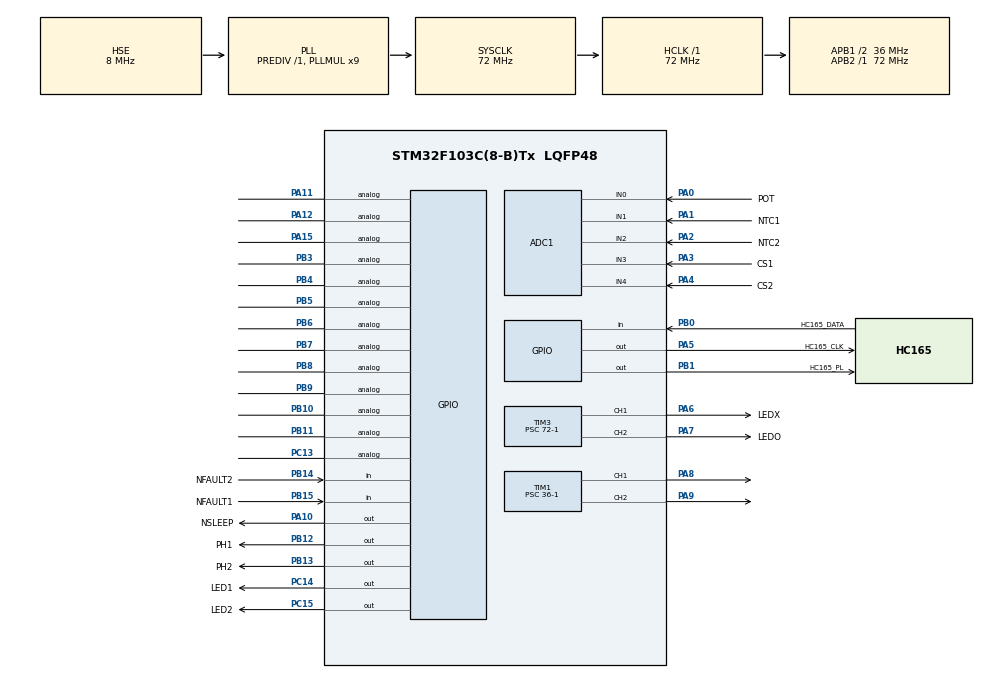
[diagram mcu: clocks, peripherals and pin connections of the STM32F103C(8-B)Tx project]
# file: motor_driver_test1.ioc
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ADC1.Channel-0\#ChannelRegularConversion=ADC_CHANNEL_0
ADC1.Channel-1\#ChannelRegularConversion=ADC_CHANNEL_1
ADC1.Channel-2\#ChannelRegularConversion=ADC_CHANNEL_2
ADC1.Channel-3\#ChannelRegularConversion=ADC_CHANNEL_3
ADC1.Channel-4\#ChannelRegularConversion=ADC_CHANNEL_4
ADC1.ContinuousConvMode=ENABLE
ADC1.NbrOfConversion=5
ADC1.NbrOfConversionFlag=1
ADC1.Rank-0\#ChannelRegularConversion=1
ADC1.Rank-1\#ChannelRegularConversion=2
ADC1.Rank-2\#ChannelRegularConversion=3
ADC1.Rank-3\#ChannelRegularConversion=4
ADC1.Rank-4\#ChannelRegularConversion=5
ADC1.SamplingTime-0\#ChannelRegularConversion=ADC_SAMPLETIME_55CYCLES_5
ADC1.SamplingTime-1\#ChannelRegularConversion=ADC_SAMPLETIME_71CYCLES_5
ADC1.SamplingTime-2\#ChannelRegularConversion=ADC_SAMPLETIME_71CYCLES_5
ADC1.SamplingTime-3\#ChannelRegularConversion=ADC_SAMPLETIME_55CYCLES_5
ADC1.SamplingTime-4\#ChannelRegularConversion=ADC_SAMPLETIME_55CYCLES_5
ADC1.master=1
Dma.ADC1.0.Direction=DMA_PERIPH_TO_MEMORY
Dma.ADC1.0.Instance=DMA1_Channel1
Dma.ADC1.0.MemDataAlignment=DMA_MDATAALIGN_HALFWORD
Dma.ADC1.0.MemInc=DMA_MINC_ENABLE
Dma.ADC1.0.Mode=DMA_CIRCULAR
Dma.ADC1.0.PeriphDataAlignment=DMA_PDATAALIGN_HALFWORD
Dma.ADC1.0.PeriphInc=DMA_PINC_DISABLE
Dma.ADC1.0.Priority=DMA_PRIORITY_LOW
Dma.Request0=ADC1
Mcu.Family=STM32F1
Mcu.Name=STM32F103C(8-B)Tx
Mcu.Package=LQFP48
NVIC.DMA1_Channel1_IRQn=true\:0\:0\:false\:false\:true\:false\:true\:true
NVIC.PriorityGroup=NVIC_PRIORITYGROUP_4
NVIC.TIM2_IRQn=true\:0\:0\:false\:false\:true\:true\:true\:true
NVIC.TIM4_IRQn=true\:0\:0\:false\:false\:true\:true\:true\:true
PA0-WKUP.GPIO_Label=POT
PA0-WKUP.Signal=ADCx_IN0
PA1.GPIO_Label=NTC1
PA1.Signal=ADCx_IN1
PA10.GPIO_Label=NSLEEP
PA10.Signal=GPIO_Output
PA11.Signal=GPIO_Analog
PA12.Signal=GPIO_Analog
PA13.Mode=Serial_Wire
PA13.Signal=SYS_JTMS-SWDIO
PA14.Mode=Serial_Wire
PA14.Signal=SYS_JTCK-SWCLK
PA15.Signal=GPIO_Analog
PA2.GPIO_Label=NTC2
PA2.Signal=ADCx_IN2
PA3.GPIO_Label=CS1
PA3.Signal=ADCx_IN3
PA4.GPIO_Label=CS2
PA4.Signal=ADCx_IN4
PA5.GPIO_Label=HC165_CLK
PA5.Signal=GPIO_Output
PA6.GPIO_Label=LEDX
PA6.Signal=S_TIM3_CH1
PA7.GPIO_Label=LEDO
PA7.Signal=S_TIM3_CH2
PA8.Signal=S_TIM1_CH1
PA9.Signal=S_TIM1_CH2
PB0.GPIO_Label=HC165_DATA
PB0.Signal=GPIO_Input
PB1.GPIO_Label=HC165_PL
PB1.Signal=GPIO_Output
PB10.Signal=GPIO_Analog
PB11.Signal=GPIO_Analog
PB12.GPIO_Label=PH1
PB12.Signal=GPIO_Output
PB13.GPIO_Label=PH2
PB13.Signal=GPIO_Output
PB14.GPIO_Label=NFAULT2
PB14.GPIO_PuPd=GPIO_PULLUP
PB14.Signal=GPIO_Input
PB15.GPIO_Label=NFAULT1
PB15.GPIO_PuPd=GPIO_PULLUP
PB15.Signal=GPIO_Input
PB3.Signal=GPIO_Analog
PB4.Signal=GPIO_Analog
PB5.Signal=GPIO_Analog
PB6.Signal=GPIO_Analog
PB7.Signal=GPIO_Analog
PB8.Signal=GPIO_Analog
PB9.Signal=GPIO_Analog
PC13-TAMPER-RTC.Signal=GPIO_Analog
PC14-OSC32_IN.GPIO_Label=LED1
PC14-OSC32_IN.Signal=GPIO_Output
PC15-OSC32_OUT.GPIO_Label=LED2
PC15-OSC32_OUT.Signal=GPIO_Output
PD0-OSC_IN.Mode=HSE-External-Oscillator
PD0-OSC_IN.Signal=RCC_OSC_IN
PD1-OSC_OUT.Mode=HSE-External-Oscillator
PD1-OSC_OUT.Signal=RCC_OSC_OUT
ProjectManager.HeapSize=0x200
ProjectManager.StackSize=0x400
ProjectManager.TargetToolchain=MDK-ARM V5.32
RCC.ADCPresc=RCC_ADCPCLK2_DIV6
RCC.AHBFreq_Value=72000000
RCC.APB1CLKDivider=RCC_HCLK_DIV2
RCC.APB1Freq_Value=36000000
RCC.APB1TimFreq_Value=72000000
RCC.APB2Freq_Value=72000000
RCC.APB2TimFreq_Value=72000000
RCC.HCLKFreq_Value=72000000
RCC.PLLMUL=RCC_PLL_MUL9
RCC.PLLSourceVirtual=RCC_PLLSOURCE_HSE
RCC.SYSCLKFreq_VALUE=72000000
RCC.SYSCLKSource=RCC_SYSCLKSOURCE_PLLCLK
RCC.USBFreq_Value=72000000
SH.ADCx_IN0.0=ADC1_IN0,IN0
SH.ADCx_IN1.0=ADC1_IN1,IN1
SH.ADCx_IN2.0=ADC1_IN2,IN2
SH.ADCx_IN3.0=ADC1_IN3,IN3
SH.ADCx_IN4.0=ADC1_IN4,IN4
SH.S_TIM1_CH1.0=TIM1_CH1,PWM Generation1 CH1
SH.S_TIM1_CH2.0=TIM1_CH2,PWM Generation2 CH2
SH.S_TIM3_CH1.0=TIM3_CH1,PWM Generation1 CH1
SH.S_TIM3_CH2.0=TIM3_CH2,PWM Generation2 CH2
TIM1.AutoReloadPreload=TIM_AUTORELOAD_PRELOAD_ENABLE
TIM1.Channel-PWM\ Generation1\ CH1=TIM_CHANNEL_1
TIM1.Channel-PWM\ Generation2\ CH2=TIM_CHANNEL_2
TIM1.Period=100-1
TIM1.Prescaler=36-1
TIM1.Pulse-PWM\ Generation1\ CH1=50
TIM1.Pulse-PWM\ Generation2\ CH2=50
TIM2.AutoReloadPreload=TIM_AUTORELOAD_PRELOAD_ENABLE
TIM2.Period=1000-1
TIM2.Prescaler=72-1
TIM3.Channel-PWM\ Generation1\ CH1=TIM_CHANNEL_1
TIM3.Channel-PWM\ Generation2\ CH2=TIM_CHANNEL_2
TIM3.Period=1000-1
TIM3.Prescaler=72-1
TIM3.Pulse-PWM\ Generation1\ CH1=999
TIM4.Period=1000-1
TIM4.Prescaler=720-1
VP_TIM1_VS_ClockSourceINT.Mode=Internal
VP_TIM2_VS_ClockSourceINT.Mode=Internal
VP_TIM3_VS_ClockSourceINT.Mode=Internal
VP_TIM4_VS_ClockSourceINT.Mode=Internal
board=custom

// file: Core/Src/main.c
/* USER CODE BEGIN Header */
/**
  ******************************************************************************
  * @file           : main.c
  * @brief          : Main program body
  ******************************************************************************
  * @attention
  *
  * Copyright (c) 2025 STMicroelectronics.
  * All rights reserved.
  *
  * This software is licensed under terms that can be found in the LICENSE file
  * in the root directory of this software component.
  * If no LICENSE file comes with this software, it is provided AS-IS.
  *
  ******************************************************************************
  */
/* USER CODE END Header */
#include "main.h"
#include "adc.h"
#include "dma.h"
#include "tim.h"
#include "gpio.h"

/* USER CODE BEGIN Includes */
#include "hc165.h"
#include "motor.h"
#include "ntc.h"
/* USER CODE END Includes */

/* USER CODE BEGIN PTD */
typedef enum{
	on_hold  	= 0b00,
	released	= 0b01,
	pressed		= 0b10,
	on_none		= 0b11,
}key_state_t;
typedef enum{
	sensor_active_state = 0b00,
	sensor_rising_edge	= 0b01,
	sensor_faling_edge	= 0b10,
	sensor_idle_state 	= 0b11,
}sensor_state_t;
typedef void (*key_cb_t)(void);
typedef struct{
	key_cb_t				callBack;
	key_state_t			state;
	uint8_t					newSample;
}key_t;
typedef void (*sensor_cb_t)(void);
typedef struct{
	uint8_t					newSample;
	sensor_state_t	state;
	sensor_cb_t			fallingEdgecallBack;
	sensor_cb_t			holdDowncallBack;
}sensor_t;
typedef struct{
	uint8_t keyRead			: 1;
	uint8_t sensorRead	: 1;
	uint8_t hc165Read		: 1;
	uint8_t motorUpdate	: 1;
}Flag_t;
/* USER CODE END PTD */

/* USER CODE BEGIN PD */
#define SWITCH_CLOSE1													0
#define SWITCH_OPEN1													1
#define SWITCH_LASER1													2
#define BUTTON_OP															3
#define BUTTON_SET														4
#define SWITCH_LASER2													5
#define SWITCH_CLOSE2													6
#define SWITCH_OPEN2													7
#define HC165_CONVERSION_TO_BIT(BYTE,BIT)    	((BYTE) >> (BIT) & 0x01)
#define OP_KEY																0
#define SET_KEY																1
#define CLOSE_MICRO_SWITCH1										0
#define OPEN_MICRO_SWITCH1										1
#define LASER_OUTPUT													2
#define CLOSE_MICRO_SWITCH2										3
#define OPEN_MICRO_SWITCH2										4
/* USER CODE END PD */

/* USER CODE BEGIN PV */
uint8_t key_timer = 0;
volatile Flag_t 	flags 		= {0};
motor_t motor1 = {0};
uint16_t dma_buf[100];
uint32_t sum_buf[5];
/* USER CODE END PV */

void SystemClock_Config(void);
/* USER CODE BEGIN PFP */
/* sensor read prototype*/
void key_init								(key_t* key ,uint16_t len);
void update_keyState				(key_t* key ,uint16_t len);
void key_callBack_handler		(key_t* key ,uint16_t len);
void key_callBack_op				(void);
void key_callBack_set				(void);
void keys_handler						(key_t* key ,uint16_t len);

void sensor_init						(sensor_t* sensor ,uint16_t len);
void update_sensorState			(sensor_t* sensor ,uint16_t len);

void sensor_fcallBack_close1	(void);
void sensor_fcallBack_open1	(void);
void sensor_fcallBack_laser	(void);
void sensor_fcallBack_close2	(void);
void sensor_fcallBack_open2	(void);

void sensor_hcallBack_close1	(void);
void sensor_hcallBack_open1	(void);
void sensor_hcallBack_laser	(void);
void sensor_hcallBack_close2	(void);
void sensor_hcallBack_open2	(void);

void sensor_callBack_handler(sensor_t* sensor ,uint16_t len);
void sensor_handler					(sensor_t* sensor ,uint16_t len);

/* update samples*/
void update_keys_and_sensors_smple(uint8_t sample,key_t* key,sensor_t* sensor);

/* USER CODE END PFP */

int main(void)
{

  /* MCU Configuration--------------------------------------------------------*/

  /* Reset of all peripherals, Initializes the Flash interface and the Systick. */
  HAL_Init();

  /* Configure the system clock */
  SystemClock_Config();

  /* Initialize all configured peripherals */
  MX_GPIO_Init();
  MX_DMA_Init();
  MX_ADC1_Init();
  MX_TIM1_Init();
  MX_TIM2_Init();
  MX_TIM3_Init();
  MX_TIM4_Init();
  /* USER CODE BEGIN 2 */
	/* keys init */
	key_t keys[2];
	key_init(keys,2);
	keys[OP_KEY].callBack 	= key_callBack_op;
	keys[SET_KEY].callBack 	= key_callBack_set;
	/* sensors init */
	sensor_t sensors[5];
	sensor_init(sensors,5);
	sensors[CLOSE_MICRO_SWITCH1].fallingEdgecallBack 	= sensor_fcallBack_close1;
	sensors[OPEN_MICRO_SWITCH1].fallingEdgecallBack		= sensor_fcallBack_open1;
	sensors[LASER_OUTPUT].fallingEdgecallBack					= sensor_fcallBack_laser;
	sensors[CLOSE_MICRO_SWITCH2].fallingEdgecallBack 	= sensor_fcallBack_close2;
	sensors[OPEN_MICRO_SWITCH2].fallingEdgecallBack		= sensor_fcallBack_open2;
	sensors[CLOSE_MICRO_SWITCH1].holdDowncallBack 		= sensor_hcallBack_close1;
	sensors[OPEN_MICRO_SWITCH1].holdDowncallBack			= sensor_hcallBack_open1;
	sensors[LASER_OUTPUT].holdDowncallBack						= sensor_hcallBack_laser;
	sensors[CLOSE_MICRO_SWITCH2].holdDowncallBack 		= sensor_hcallBack_close2;
	sensors[OPEN_MICRO_SWITCH2].holdDowncallBack			= sensor_hcallBack_open2;
	/*    */
	// بايد به تابع تبديلش کنم
	motor_cfg_t motor_cfg;
	motor_cfg.pin_dir.port 					= PH1_GPIO_Port;
	motor_cfg.pin_dir.pin  					= PH1_Pin;
	motor_cfg.pin_dir.active_lvl 		= SET;
	motor_cfg.pin_sleep.port 				= NSLEEP_GPIO_Port;
	motor_cfg.pin_sleep.pin  				= NSLEEP_Pin;
	motor_cfg.pin_sleep.active_lvl 	= SET;
	motor_cfg.pin_nfault.port				= NFAULT1_GPIO_Port;
	motor_cfg.pin_nfault.pin				= NFAULT1_Pin;
	motor_cfg.pin_nfault.active_lvl = RESET;
	motor_cfg.move_timeout_ms				= 1000;

	motor_init_pins(&motor1,&motor_cfg);
	motor_init_timer(&motor1,&htim1,TIM_CHANNEL_1,70);
	HAL_GPIO_WritePin(motor1.cfg.pin_sleep.port,motor1.cfg.pin_sleep.pin,GPIO_PIN_SET);
	/*    */
	start_motor_lowSpeed(&motor1);
	HAL_Delay(200);
	HAL_TIM_Base_Start_IT(&htim2);
	HAL_TIM_Base_Start_IT(&htim4);

	HAL_ADC_Start_DMA(&hadc1,(uint32_t*)dma_buf,100);
	ntc_t ntc1;
	ntc_t ntc2;
	const ntc_hw_t ntc_hw = {
		.topology = NTC_TO_GND ,
		.adc_fullscale = 4095,
		.vref_V = 3.3f,
		.R_fixed_ohm = 10000,
		.adc_min_valid = 0,
		.adc_max_valid = 4095
	};
	const ntc_model_params_t ntc_model_params = {
		.model = NTC_MODEL_BETA,
		.p.beta.R0_ohm = 10000,
		.p.beta.beta_K = 3950 ,
		.p.beta.T0_K = 298.15f,
	};
	const ntc_filter_t ntc_filt = {
		.alpha = 0.5,
		.filter_on_temp = true,
	};
	ntc_init(&ntc1,&ntc_hw,&ntc_model_params,&ntc_filt);
	ntc_init(&ntc2,&ntc_hw,&ntc_model_params,&ntc_filt);

  /* USER CODE END 2 */

  /* Infinite loop */
  while (1)
  {

    /* USER CODE BEGIN 3 */
		if(flags.hc165Read){
			flags.hc165Read 		= RESET_FLAG;
			update_keys_and_sensors_smple(hc165_out,keys,sensors);
			hc165_stateMachine();
		}
		if(flags.motorUpdate){
			flags.motorUpdate = RESET_FLAG;
			motor_handler(&motor1);
			if(!HAL_GPIO_ReadPin(NFAULT1_GPIO_Port,NFAULT1_Pin)){
				HAL_TIM_PWM_Stop(&htim1,TIM_CHANNEL_1);
			}
		}
		if(flags.sensorRead){
			flags.sensorRead = RESET_FLAG;
			sensor_handler(sensors,5);

		}
		// قبلش بايد نمونه کليد رو آپديت کنم از hc165
		if(flags.keyRead){ // update key state
			flags.keyRead = RESET_FLAG;
			keys_handler(keys,2);
			ntc_update_adc(&ntc1,(uint16_t)(sum_buf[1]/20));
			ntc_update_adc(&ntc2,(uint16_t)(sum_buf[2]/20));
		}
  }
  /* USER CODE END 3 */
}

void SystemClock_Config(void)
{
  RCC_OscInitTypeDef RCC_OscInitStruct = {0};
  RCC_ClkInitTypeDef RCC_ClkInitStruct = {0};
  RCC_PeriphCLKInitTypeDef PeriphClkInit = {0};

  /** Initializes the RCC Oscillators according to the specified parameters
  * in the RCC_OscInitTypeDef structure.
  */
  RCC_OscInitStruct.OscillatorType = RCC_OSCILLATORTYPE_HSE;
  RCC_OscInitStruct.HSEState = RCC_HSE_ON;
  RCC_OscInitStruct.HSEPredivValue = RCC_HSE_PREDIV_DIV1;
  RCC_OscInitStruct.HSIState = RCC_HSI_ON;
  RCC_OscInitStruct.PLL.PLLState = RCC_PLL_ON;
  RCC_OscInitStruct.PLL.PLLSource = RCC_PLLSOURCE_HSE;
  RCC_OscInitStruct.PLL.PLLMUL = RCC_PLL_MUL9;
  if (HAL_RCC_OscConfig(&RCC_OscInitStruct) != HAL_OK)
  {
    Error_Handler();
  }

  /** Initializes the CPU, AHB and APB buses clocks
  */
  RCC_ClkInitStruct.ClockType = RCC_CLOCKTYPE_HCLK|RCC_CLOCKTYPE_SYSCLK
                              |RCC_CLOCKTYPE_PCLK1|RCC_CLOCKTYPE_PCLK2;
  RCC_ClkInitStruct.SYSCLKSource = RCC_SYSCLKSOURCE_PLLCLK;
  RCC_ClkInitStruct.AHBCLKDivider = RCC_SYSCLK_DIV1;
  RCC_ClkInitStruct.APB1CLKDivider = RCC_HCLK_DIV2;
  RCC_ClkInitStruct.APB2CLKDivider = RCC_HCLK_DIV1;

  if (HAL_RCC_ClockConfig(&RCC_ClkInitStruct, FLASH_LATENCY_2) != HAL_OK)
  {
    Error_Handler();
  }
  PeriphClkInit.PeriphClockSelection = RCC_PERIPHCLK_ADC;
  PeriphClkInit.AdcClockSelection = RCC_ADCPCLK2_DIV6;
  if (HAL_RCCEx_PeriphCLKConfig(&PeriphClkInit) != HAL_OK)
  {
    Error_Handler();
  }
}

/* USER CODE BEGIN 4 */
void key_init(key_t* key ,uint16_t len){
	while(len-- > 0){
		key->newSample 		= SET;
		key->state				= on_none;
		key++;
	}
}
void update_keyState(key_t* key ,uint16_t len){
	while(len-- > 0){
		key->state = ((key->state << 1) | key->newSample) & 0x03;
		key++;
	}
}
void key_callBack_op(void){
	if(motor1.startMode == MOTOR_START_LOW_SPEED){
		//HAL_TIM_PWM_Start(motor1.trap.timer,motor1.trap.channel);
	}
	else{
		motor1.flag.start_pending = SET;
	}
}
void key_callBack_set(void){
	motor1.flag.stop_pending = SET;
}
void key_callBack_handler(key_t* key ,uint16_t len){
	while(len-- > 0){
		if(key->state == pressed){
			key->callBack();
		}
		key++;
	}
}
void keys_handler(key_t* key ,uint16_t len){
	// 1. update key state
	update_keyState(key,len);
	// 2. check pressed and call back
	key_callBack_handler(key,len);
}
void sensor_init						(sensor_t* sensor ,uint16_t len){
	while(len-- > 0){
		sensor->newSample = sensor_idle_state;
		sensor->state			= sensor_idle_state;
		sensor++;
	}
}
void update_sensorState			(sensor_t* sensor ,uint16_t len){
	while(len-- > 0){
		sensor->state = ((sensor->state << 1) | sensor->newSample) & 0x03;
		sensor++;
	}
}
void sensor_fcallBack_close1(void){
	/*if(motor1.startMode == MOTOR_START_LOW_SPEED){
		motor1.cfg.pin_dir.active_lvl = 1;
		motor1.flag.captureDirEdge 		= 1;
		motor1.pos = motor_pos_close;
	}*/
}
void sensor_fcallBack_open1	(void){

}
void sensor_fcallBack_laser	(void){

}
void sensor_fcallBack_close2(void){

}
void sensor_fcallBack_open2	(void){
	/*if(motor1.startMode == MOTOR_START_LOW_SPEED){
		motor1.cfg.pin_dir.active_lvl = 0;
		motor1.flag.captureDirEdge 		= 1;
		motor1.pos = motor_pos_open;
	}*/
}
void sensor_hcallBack_close1(void){
	if(motor1.startMode == MOTOR_START_LOW_SPEED){
		motor1.cfg.pin_dir.active_lvl = 0;
		motor1.flag.captureDirACT = 1;
		motor1.pos = motor_pos_close;
		HAL_TIM_PWM_Stop(&htim1,TIM_CHANNEL_1);
	}
	else{
		motor1.pos = motor_pos_close;
	}
}
void sensor_hcallBack_open1	(void){

}
void sensor_hcallBack_laser	(void){

}
void sensor_hcallBack_close2(void){

}
void sensor_hcallBack_open2	(void){
	if(motor1.startMode == MOTOR_START_LOW_SPEED){
		motor1.cfg.pin_dir.active_lvl = 1;
		motor1.flag.captureDirACT = 1;
		motor1.pos = motor_pos_open;
		HAL_TIM_PWM_Stop(&htim1,TIM_CHANNEL_1);
	}
	else{
		motor1.pos = motor_pos_open;
	}
}
void sensor_callBack_handler(sensor_t* sensor ,uint16_t len){
	while(len-- > 0){
		if(sensor->state == sensor_faling_edge){
			sensor->fallingEdgecallBack();
		}
		else if(sensor->state == sensor_active_state){
			sensor->holdDowncallBack();
		}
		sensor++;
	}
}
void sensor_handler(sensor_t* sensor ,uint16_t len){
	// 1. update sensors state
	update_sensorState(sensor,len);
	// 2. check faling and call back
	sensor_callBack_handler(sensor,len);
}
void HAL_TIM_PeriodElapsedCallback(TIM_HandleTypeDef* htim){
	if(htim->Instance == TIM2){
		flags.hc165Read 		= SET_FLAG;
		flags.motorUpdate		= SET_FLAG;
	}
	if(htim->Instance == TIM4){
		flags.sensorRead 		= SET_FLAG;
		key_timer++;
		if(key_timer >= 3){
			key_timer 				= RESET;
			flags.keyRead 		= SET_FLAG;
		}
	}
}
/**/
void update_keys_and_sensors_smple(uint8_t sample,key_t* key,sensor_t* sensor){
	key[OP_KEY].newSample 	= HC165_CONVERSION_TO_BIT(sample,BUTTON_OP);
	key[SET_KEY].newSample = HC165_CONVERSION_TO_BIT(sample,BUTTON_SET);
	sensor[CLOSE_MICRO_SWITCH1].newSample = HC165_CONVERSION_TO_BIT(sample,SWITCH_CLOSE1);
	sensor[OPEN_MICRO_SWITCH1].newSample = HC165_CONVERSION_TO_BIT(sample,SWITCH_OPEN1);
	sensor[LASER_OUTPUT].newSample = HC165_CONVERSION_TO_BIT(sample,SWITCH_LASER1);
	sensor[CLOSE_MICRO_SWITCH2].newSample = HC165_CONVERSION_TO_BIT(sample,SWITCH_CLOSE2);
	sensor[OPEN_MICRO_SWITCH2].newSample = HC165_CONVERSION_TO_BIT(sample,SWITCH_OPEN2);
}
//adc
void HAL_ADC_ConvCpltCallback(ADC_HandleTypeDef* hadc){
	if(hadc->Instance == ADC1){
		for(uint8_t i = 0; i < 20;i+=5){
			sum_buf[0] += dma_buf[i + 0];
			sum_buf[1] += dma_buf[i + 1];
			sum_buf[2] += dma_buf[i + 2];
			sum_buf[3] += dma_buf[i + 3];
			sum_buf[4] += dma_buf[i + 4];
		}
	}
}
/* USER CODE END 4 */

void Error_Handler(void)
{
  __disable_irq();
  while (1)
  {
  }
}
